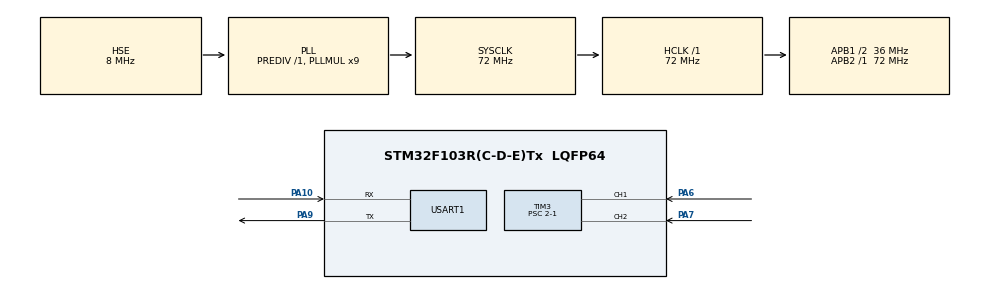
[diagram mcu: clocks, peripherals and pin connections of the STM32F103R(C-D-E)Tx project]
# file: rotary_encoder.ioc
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Mcu.Family=STM32F1
Mcu.Name=STM32F103R(C-D-E)Tx
Mcu.Package=LQFP64
NVIC.PriorityGroup=NVIC_PRIORITYGROUP_4
PA10.Mode=Asynchronous
PA10.Signal=USART1_RX
PA13.Mode=Serial_Wire
PA13.Signal=SYS_JTMS-SWDIO
PA14.Mode=Serial_Wire
PA14.Signal=SYS_JTCK-SWCLK
PA6.Signal=S_TIM3_CH1
PA7.Signal=S_TIM3_CH2
PA9.Mode=Asynchronous
PA9.Signal=USART1_TX
PD0-OSC_IN.Mode=HSE-External-Oscillator
PD0-OSC_IN.Signal=RCC_OSC_IN
PD1-OSC_OUT.Mode=HSE-External-Oscillator
PD1-OSC_OUT.Signal=RCC_OSC_OUT
ProjectManager.HeapSize=0x200
ProjectManager.StackSize=0x400
ProjectManager.TargetToolchain=Makefile
RCC.AHBFreq_Value=72000000
RCC.APB1CLKDivider=RCC_HCLK_DIV2
RCC.APB1Freq_Value=36000000
RCC.APB1TimFreq_Value=72000000
RCC.APB2Freq_Value=72000000
RCC.APB2TimFreq_Value=72000000
RCC.HCLKFreq_Value=72000000
RCC.PLLMUL=RCC_PLL_MUL9
RCC.PLLSourceVirtual=RCC_PLLSOURCE_HSE
RCC.SYSCLKFreq_VALUE=72000000
RCC.SYSCLKSource=RCC_SYSCLKSOURCE_PLLCLK
RCC.USBFreq_Value=72000000
SH.S_TIM3_CH1.0=TIM3_CH1,Encoder_Interface
SH.S_TIM3_CH2.0=TIM3_CH2,Encoder_Interface
TIM3.IC1Filter=15
TIM3.IC2Filter=15
TIM3.Prescaler=2-1
USART1.VirtualMode=VM_ASYNC
board=custom

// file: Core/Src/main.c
/* USER CODE BEGIN Header */
/**
  ******************************************************************************
  * @file           : main.c
  * @brief          : Main program body
  ******************************************************************************
  * @attention
  *
  * Copyright (c) 2024 STMicroelectronics.
  * All rights reserved.
  *
  * This software is licensed under terms that can be found in the LICENSE file
  * in the root directory of this software component.
  * If no LICENSE file comes with this software, it is provided AS-IS.
  *
  ******************************************************************************
  */
/* USER CODE END Header */
#include "main.h"
#include "tim.h"
#include "usart.h"
#include "gpio.h"

/* USER CODE BEGIN Includes */
#include "delay.h"
#include "lcd.h"
/* USER CODE END Includes */

void SystemClock_Config(void);

int main(void) {

    /* MCU Configuration--------------------------------------------------------*/

    /* Reset of all peripherals, Initializes the Flash interface and the Systick. */
    HAL_Init();

    /* Configure the system clock */
    SystemClock_Config();

    /* Initialize all configured peripherals */
    MX_GPIO_Init();
    MX_TIM3_Init();
    MX_USART1_UART_Init();
    /* USER CODE BEGIN 2 */
    delay_init(72);
    lcd_init();
    /* USER CODE END 2 */

    /* Infinite loop */
    /* USER CODE BEGIN WHILE */
    HAL_TIM_Encoder_Start(&htim3, TIM_CHANNEL_ALL);

    int counter = 0;
    lcd_printf(10, 100, "LCD ID %04X", lcddev.id);
    lcd_printf(10, 120, "counter:%3d", counter);
    lcd_draw_rectangle(10, 140, 111, 160, BLUE);

    int last_counter = counter;
    while (1) {
        counter = __HAL_TIM_GET_COUNTER(&htim3);
        if (counter > 60000) {
            counter = 0;
            __HAL_TIM_SET_COUNTER(&htim3, 0);
        } else if (counter > 100) {
            counter = 100;
            __HAL_TIM_SET_COUNTER(&htim3, 100);
        }

        if (last_counter != counter) {
            last_counter = counter;
            lcd_printf(10, 120, "counter:%3d", counter);

            lcd_fill(11, 141, 110, 159, WHITE);
            lcd_fill(10, 141, 10 + counter, 159, BLUE);
        }

        delay_ms(100);
        /* USER CODE END WHILE */

    }
}

void SystemClock_Config(void) {
    RCC_OscInitTypeDef RCC_OscInitStruct = {0};
    RCC_ClkInitTypeDef RCC_ClkInitStruct = {0};

    /** Initializes the RCC Oscillators according to the specified parameters
    * in the RCC_OscInitTypeDef structure.
    */
    RCC_OscInitStruct.OscillatorType = RCC_OSCILLATORTYPE_HSE;
    RCC_OscInitStruct.HSEState = RCC_HSE_ON;
    RCC_OscInitStruct.HSEPredivValue = RCC_HSE_PREDIV_DIV1;
    RCC_OscInitStruct.HSIState = RCC_HSI_ON;
    RCC_OscInitStruct.PLL.PLLState = RCC_PLL_ON;
    RCC_OscInitStruct.PLL.PLLSource = RCC_PLLSOURCE_HSE;
    RCC_OscInitStruct.PLL.PLLMUL = RCC_PLL_MUL9;
    if (HAL_RCC_OscConfig(&RCC_OscInitStruct) != HAL_OK) {
        Error_Handler();
    }

    /** Initializes the CPU, AHB and APB buses clocks
    */
    RCC_ClkInitStruct.ClockType = RCC_CLOCKTYPE_HCLK | RCC_CLOCKTYPE_SYSCLK
                                  | RCC_CLOCKTYPE_PCLK1 | RCC_CLOCKTYPE_PCLK2;
    RCC_ClkInitStruct.SYSCLKSource = RCC_SYSCLKSOURCE_PLLCLK;
    RCC_ClkInitStruct.AHBCLKDivider = RCC_SYSCLK_DIV1;
    RCC_ClkInitStruct.APB1CLKDivider = RCC_HCLK_DIV2;
    RCC_ClkInitStruct.APB2CLKDivider = RCC_HCLK_DIV1;

    if (HAL_RCC_ClockConfig(&RCC_ClkInitStruct, FLASH_LATENCY_2) != HAL_OK) {
        Error_Handler();
    }
}

void Error_Handler(void) {
    __disable_irq();
    while (1) {
    }
}
